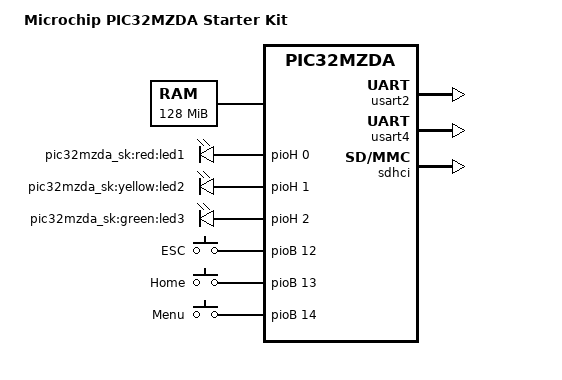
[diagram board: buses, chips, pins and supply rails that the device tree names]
/*
 * Copyright (C) 2015 Microchip Technology Inc.  All rights reserved.
 *
 * This program is free software; you can redistribute it and/or modify
 * it under the terms of the GNU General Public License version 2 as
 * published by the Free Software Foundation.
 *
 */

/dts-v1/;

#include <dt-bindings/gpio/gpio.h>
#include <dt-bindings/pinctrl/pic32mzda.h>

#include "pic32mzda.dtsi"

/ {
	compatible = "microchip,pic32mzda-sk", "microchip,pic32mzda";
	model = "Microchip PIC32MZDA Starter Kit";

	memory {
		device_type = "memory";
		reg = <0x08000000 0x08000000>;
	};

	chosen {
		bootargs = "earlyprintk=ttyS1,115200n8r console=ttyS1,115200n8";
	};

	leds0 {
		compatible = "gpio-leds";
		pinctrl-names = "default";
		pinctrl-0 = <&user_leds_s0>;

		led@1 {
			label = "pic32mzda_sk:red:led1";
			gpios = <&pioH 0 GPIO_ACTIVE_HIGH>;
			linux,default-trigger = "heartbeat";
		};

		led@2 {
			label = "pic32mzda_sk:yellow:led2";
			gpios = <&pioH 1 GPIO_ACTIVE_HIGH>;
			linux,default-trigger = "mmc0";
		};

		led@3 {
			label = "pic32mzda_sk:green:led3";
			gpios = <&pioH 2 GPIO_ACTIVE_HIGH>;
			default-state = "on";
		};
	};

	keys0 {
		compatible = "gpio-keys-polled";
		pinctrl-0 = <&user_buttons_s0>;
		pinctrl-names = "default";

		#address-cells = <1>;
		#size-cells = <0>;
		poll-interval = <300>;

		button@sw1 {
			label = "ESC";
			linux,code = <1>;
			gpios = <&pioB 12 0>;
		};

		button@sw2 {
			label = "Home";
			linux,code = <102>;
			gpios = <&pioB 13 0>;
		};

		button@sw3 {
			label = "Menu";
			linux,code = <139>;
			gpios = <&pioB 14 0>;
		};
	};
};

&usart2 {
	pinctrl-names = "default";
	pinctrl-0 = <&pinctrl_uart2>;
	status = "okay";
};

&usart4 {
	pinctrl-names = "default";
	pinctrl-0 = <&pinctrl_uart4>;
	status = "okay";
};

&sdhci {
	pinctrl-names = "default";
	pinctrl-0 = <&pinctrl_sdhc1>;
	status = "okay";
};

&pic32_pinctrl {

	sdhc1 {
		pinctrl_sdhc1: sdhc1_pins0 {
			/* SDCLK */
			pic32,single-pins = <PORT_A 6 PIC32_PIN_CONF_DG>,
				<PORT_D 4 PIC32_PIN_CONF_DG>,	  /* SDCMD */
				<PORT_G 13 PIC32_PIN_CONF_DG>,	  /* SDDATA0 */
				<PORT_G 12 PIC32_PIN_CONF_DG>,	  /* SDDATA1 */
				<PORT_G 14 PIC32_PIN_CONF_DG>,	  /* SDDATA2 */
				<PORT_A 7 PIC32_PIN_CONF_DG>,	  /* SDDATA3 */
				<PORT_A 0 PIC32_PIN_CONF_DG>;	  /* SDCD */
		};
	};

	leds {

		user_leds_s0: user_leds_s0 {
			pic32,single-pins = <PORT_H 0 PIC32_PIN_CONF_DG_OUT
				PORT_H 1 PIC32_PIN_CONF_DG_OUT
				PORT_H 2 PIC32_PIN_CONF_DG_OUT>;
		};
	};

	buttons0 {
		user_buttons_s0: user_buttons_s0 {
			pic32,single-pins = <PORT_B 12 PIC32_PIN_CONF_PU_IN
				PORT_B 13 PIC32_PIN_CONF_PU_IN
				PORT_B 14 PIC32_PIN_CONF_PU_IN>;
		};
	};

	uart2 {
		pinctrl_uart2: uart2-0 {
			pic32,pins = <PIC32_RP_OUT_RPG9 PIC32_PP_OUT_U2TX
					PIC32_PIN_CONF_DG_OUT
				PIC32_RP_IN_RPB0 PIC32_PP_IN_U2RX
					PIC32_PIN_CONF_DG_IN>;
		};
	};

	uart4 {
		pinctrl_uart4: uart4-0 {
			pic32,pins = <PIC32_RP_OUT_RPC3 PIC32_PP_OUT_U4TX
					PIC32_PIN_CONF_DG_OUT
				PIC32_RP_IN_RPE8 PIC32_PP_IN_U4RX
					PIC32_PIN_CONF_DG_IN>;
		};
	};
};
